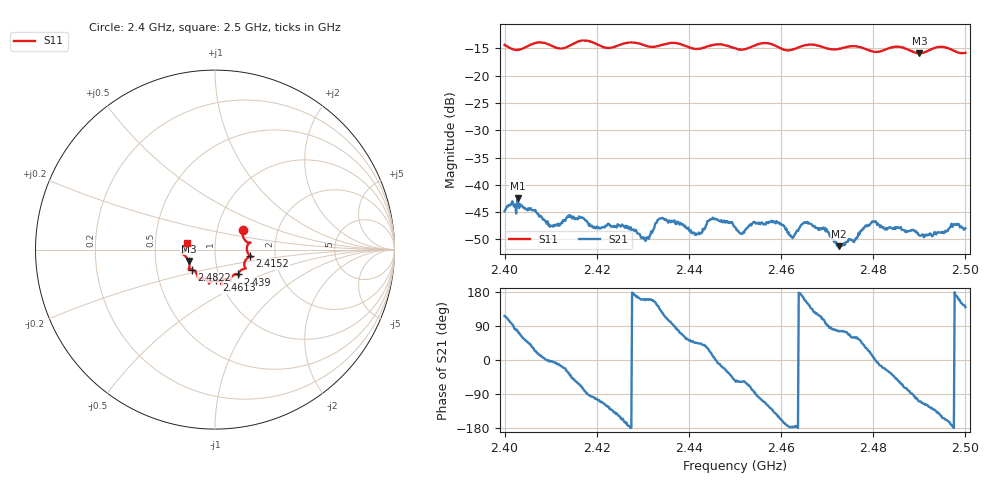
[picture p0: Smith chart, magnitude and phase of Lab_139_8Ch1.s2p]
# Hz S RI R 50
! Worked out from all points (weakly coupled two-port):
!   601 points, 2.4 GHz to 2.5 GHz, reference 50 ohm
!   highest |S21| = -42.50 dB at 2.4028 GHz (marker M1); lowest = -51.2 dB at 2.4725 GHz (marker M2)
!   lowest |S11| = -15.9 dB at 2.49 GHz (marker M3), VSWR 1.38, Z = 36.9 - j4.84 ohm
!   |S11| at or under -10 dB: start of sweep to end of sweep
!   S12 and S22 are empty: the file has one direction only
!   S11 on the Smith chart (normalised r, x): 2.4 GHz: 1.33, +0.31; 2.4152 GHz: 1.48, -0.11; 2.439 GHz: 1.24, -0.36; 2.4613 GHz: 0.96, -0.34; 2.4822 GHz: 0.76, -0.17; 2.5 GHz: 0.72, +0.05
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2.4e9  0.1556 0.1107  -0.00251 0.00514  0 0  0 0
2.402833e9  0.1595 0.0637  0.00181 0.00728  0 0  0 0
2.41e9  0.1869 0.0325  0.00421 -0.000292  0 0  0 0
2.415167e9  0.1952 -0.0359  0.00295 -0.00383  0 0  0 0
2.416667e9  0.2049 -0.0419  0.00164 -0.00475  0 0  0 0
2.430167e9  0.1567 -0.109  -0.00303 0.00106  0 0  0 0
2.433333e9  0.1321 -0.1323  -0.00378 0.00293  0 0  0 0
2.439e9  0.128 -0.1386  0.00197 0.00367  0 0  0 0
2.442167e9  0.0973 -0.1467  0.00266 0.00252  0 0  0 0
2.4455e9  0.0846 -0.1725  0.00479 0.000595  0 0  0 0
2.45e9  0.0687 -0.1637  0.00238 -0.00333  0 0  0 0
2.4515e9  0.0516 -0.1652  0.00192 -0.00298  0 0  0 0
2.458167e9  0.0383 -0.1889  -0.00303 -0.00337  0 0  0 0
2.461333e9  0.00712 -0.1705  -0.00368 -0.000478  0 0  0 0
2.4625e9  -0.00994 -0.173  -0.00324 -0.00014  0 0  0 0
2.466667e9  -0.0334 -0.1897  -0.00307 0.00307  0 0  0 0
2.4725e9  -0.0715 -0.1603  0.000679 0.00266  0 0  0 0
2.48e9  -0.1067 -0.127  0.00455 0.000556  0 0  0 0
2.482167e9  -0.128 -0.1119  0.00383 -0.00146  0 0  0 0
2.483333e9  -0.1394 -0.1104  0.00344 -0.00207  0 0  0 0
2.49e9  -0.1468 -0.0639  -0.00114 -0.00325  0 0  0 0
2.5e9  -0.1585 0.034  -0.00304 0.0026  0 0  0 0
